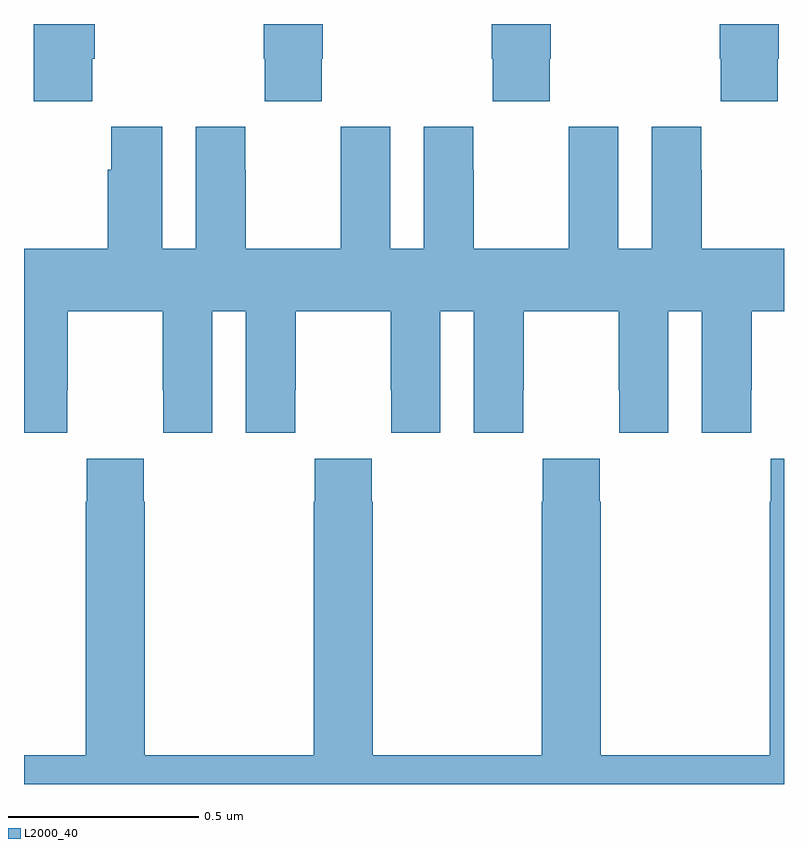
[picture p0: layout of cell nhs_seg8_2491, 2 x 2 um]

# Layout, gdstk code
import gdstk
lib = gdstk.Library(unit=1e-6, precision=1e-09)
def P(c, l, *ps):  # polygons
    for p in ps: c.add(gdstk.Polygon(p, *l))
L2000_40 = (2000, 40)

nhs_seg8_2491 = lib.new_cell('nhs_seg8_2491')
P(nhs_seg8_2491, L2000_40, [(144.783,1139.809),(144.786,1139.809),(144.786,1139.9),(144.631,1139.9),(144.631,1139.809),(144.633,1139.809),(144.633,1139.697),(144.783,1139.697)],
  [(145.383,1139.809),(145.386,1139.809),(145.386,1139.9),(145.231,1139.9),(145.231,1139.809),(145.233,1139.809),(145.233,1139.697),(145.383,1139.697)],
  [(145.983,1139.809),(145.986,1139.809),(145.986,1139.9),(145.831,1139.9),(145.831,1139.809),(145.833,1139.809),(145.833,1139.697),(145.983,1139.697)],
  [(144.179,1139.809),(144.186,1139.809),(144.186,1139.9),(144.026,1139.9),(144.026,1139.697),(144.179,1139.697)],
  [(145.565,1138.936),(145.566,1138.936),(145.566,1138.824),(145.696,1138.824),(145.696,1139.144),(145.784,1139.144),(145.784,1138.824),(145.914,1138.824),(145.914,1138.936),(145.915,1138.936),(145.915,1139.144),(146,1139.144),(146,1139.308),(145.783,1139.308),(145.783,1139.516),(145.782,1139.516),(145.782,1139.629),(145.652,1139.629),(145.652,1139.308),(145.564,1139.308),(145.564,1139.629),(145.434,1139.629),(145.434,1139.516),(145.433,1139.516),(145.433,1139.308),(145.183,1139.308),(145.183,1139.516),(145.182,1139.516),(145.182,1139.629),(145.052,1139.629),(145.052,1139.308),(144.964,1139.308),(144.964,1139.629),(144.834,1139.629),(144.834,1139.516),(144.833,1139.516),(144.833,1139.308),(144.583,1139.308),(144.583,1139.516),(144.582,1139.516),(144.582,1139.629),(144.452,1139.629),(144.452,1139.308),(144.364,1139.308),(144.364,1139.629),(144.23,1139.629),(144.23,1139.516),(144.221,1139.516),(144.221,1139.308),(144,1139.308),(144,1138.824),(144.114,1138.824),(144.114,1138.936),(144.115,1138.936),(144.115,1139.144),(144.365,1139.144),(144.365,1138.936),(144.366,1138.936),(144.366,1138.824),(144.496,1138.824),(144.496,1139.144),(144.584,1139.144),(144.584,1138.824),(144.714,1138.824),(144.714,1138.936),(144.715,1138.936),(144.715,1139.144),(144.965,1139.144),(144.965,1138.936),(144.966,1138.936),(144.966,1138.824),(145.096,1138.824),(145.096,1139.144),(145.184,1139.144),(145.184,1138.824),(145.314,1138.824),(145.314,1138.936),(145.315,1138.936),(145.315,1139.144),(145.565,1139.144)],
  [(146,1138.756),(145.965,1138.756),(145.965,1138.643),(145.963,1138.643),(145.963,1137.976),(145.518,1137.976),(145.518,1138.643),(145.515,1138.643),(145.515,1138.756),(145.365,1138.756),(145.365,1138.643),(145.363,1138.643),(145.363,1137.976),(144.918,1137.976),(144.918,1138.643),(144.915,1138.643),(144.915,1138.756),(144.765,1138.756),(144.765,1138.643),(144.763,1138.643),(144.763,1137.976),(144.318,1137.976),(144.318,1138.643),(144.315,1138.643),(144.315,1138.756),(144.165,1138.756),(144.165,1138.643),(144.163,1138.643),(144.163,1137.976),(144,1137.976),(144,1137.9),(146,1137.9)])

lib.write_gds('nhs_seg8_2491.gds')
